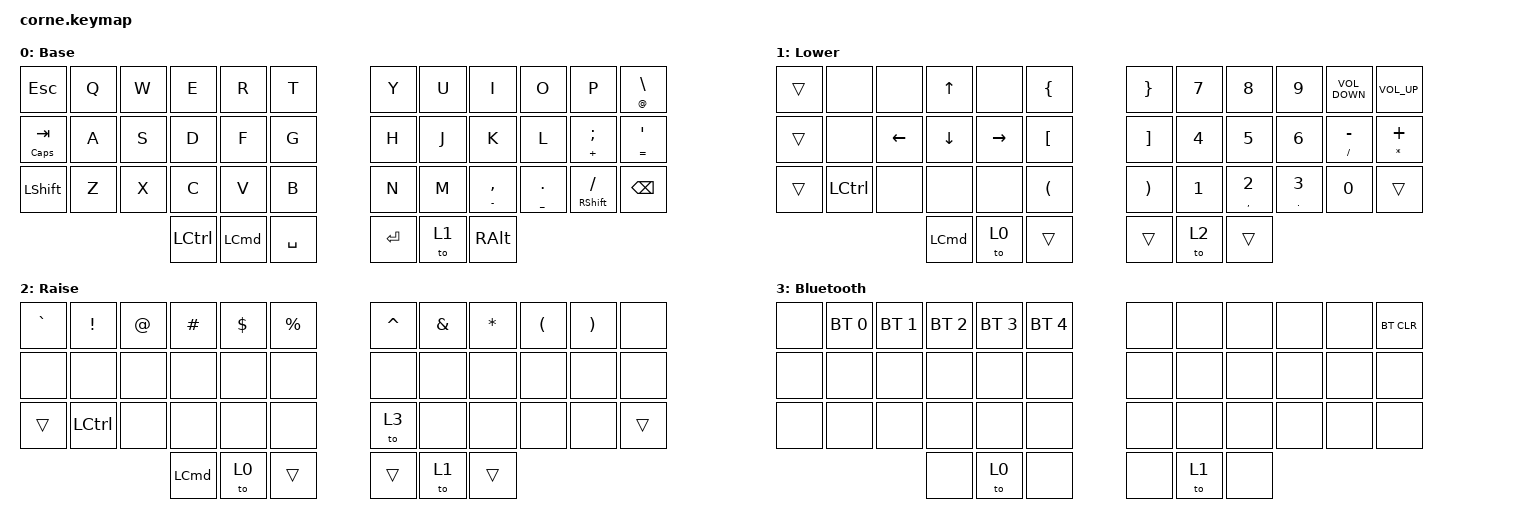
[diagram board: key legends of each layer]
/*
 * Copyright (c) 2020 The ZMK Contributors
 *
 * SPDX-License-Identifier: MIT
 */

#include <behaviors.dtsi>
#include <dt-bindings/zmk/bt.h>
#include <dt-bindings/zmk/keys.h>

/ {
    keymap {
        compatible = "zmk,keymap";

        Base {
            // -----------------------------------------------------------------------------------------
            // |  TAB |  Q  |  W  |  E  |  R  |  T  |   |  Y  |  U   |  I  |  O  |  P  | BKSP |
            // | CTRL |  A  |  S  |  D  |  F  |  G  |   |  H  |  J   |  K  |  L  |  ;  |  '   |
            // | SHFT |  Z  |  X  |  C  |  V  |  B  |   |  N  |  M   |  ,  |  .  |  /  | ESC  |
            //                    | GUI | LWR | SPC |   | ENT | RSE  | ALT |

            display-name = "Base";
            bindings = <
&kp ESC       &kp Q  &kp W  &kp E             &kp R             &kp T        &kp Y    &kp U  &kp I            &kp O               &kp P            &mt AT BACKSLASH
&mt CAPS TAB  &kp A  &kp S  &kp D             &kp F             &kp G        &kp H    &kp J  &kp K            &kp L               &mt PLUS SEMI    &mt EQUAL SQT
&kp LSHFT     &kp Z  &kp X  &kp C             &kp V             &kp B        &kp N    &kp M  &mt MINUS COMMA  &mt UNDERSCORE DOT  &mt RSHIFT FSLH  &kp BACKSPACE
                            &kp LEFT_CONTROL  &kp LEFT_COMMAND  &kp SPACE    &kp RET  &to 1  &kp RALT
            >;
        };

        Lower {
            // -----------------------------------------------------------------------------------------
            // |  TAB |  1  |  2  |  3  |  4  |  5  |   |  6  |  7  |  8  |  9  |  0  | BKSP |
            // | BTCLR| BT1 | BT2 | BT3 | BT4 | BT5 |   | LFT | DWN |  UP | RGT |     |      |
            // | SHFT |     |     |     |     |     |   |     |     |     |     |     |      |
            //                    | GUI |     | SPC |   | ENT |     | ALT |

            display-name = "Lower";
            bindings = <
&trans  &none             &none     &kp UP            &none      &kp LEFT_BRACE      &kp RIGHT_BRACE    &kp N7        &kp N8              &kp N9               &kp C_VOLUME_DOWN  &kp C_VOLUME_UP
&trans  &none             &kp LEFT  &kp DOWN          &kp RIGHT  &kp LEFT_BRACKET    &kp RIGHT_BRACKET  &kp NUMBER_4  &kp NUMBER_5        &kp NUMBER_6         &mt SLASH MINUS    &mt ASTERISK PLUS
&trans  &kp LEFT_CONTROL  &none     &none             &none      &kp LPAR            &kp RPAR           &kp NUMBER_1  &mt COMMA NUMBER_2  &mt PERIOD NUMBER_3  &kp NUMBER_0       &trans
                                    &kp LEFT_COMMAND  &to 0      &trans              &trans             &to 2         &trans
            >;
        };

        Raise {
            // -----------------------------------------------------------------------------------------
            // |  TAB |  !  |  @  |  #  |  $  |  %  |   |  ^  |  &  |  *  |  (  |  )  | BKSP |
            // | CTRL |     |     |     |     |     |   |  -  |  =  |  [  |  ]  |  \  |  `   |
            // | SHFT |     |     |     |     |     |   |  _  |  +  |  {  |  }  | "|" |  ~   |
            //                    | GUI |     | SPC |   | ENT |     | ALT |

            display-name = "Raise";
            bindings = <
&kp GRAVE  &kp EXCL          &kp AT  &kp HASH          &kp DLLR  &kp PRCNT    &kp CARET  &kp AMPS  &kp ASTERISK  &kp LPAR  &kp RPAR  &none
&none      &none             &none   &none             &none     &none        &none      &none     &none         &none     &none     &none
&trans     &kp LEFT_CONTROL  &none   &none             &none     &none        &to 3      &none     &none         &none     &none     &trans
                                     &kp LEFT_COMMAND  &to 0     &trans       &trans     &to 1     &trans
            >;
        };

        Bluetooth {
            bindings = <
&none  &bt BT_SEL 0  &bt BT_SEL 1  &bt BT_SEL 2  &bt BT_SEL 3  &bt BT_SEL 4    &none  &none  &none  &none  &none  &bt BT_CLR
&none  &none         &none         &none         &none         &none           &none  &none  &none  &none  &none  &none
&none  &none         &none         &none         &none         &none           &none  &none  &none  &none  &none  &none
                                   &none         &to 0         &none           &none  &to 1  &none
            >;
        };
    };
};
